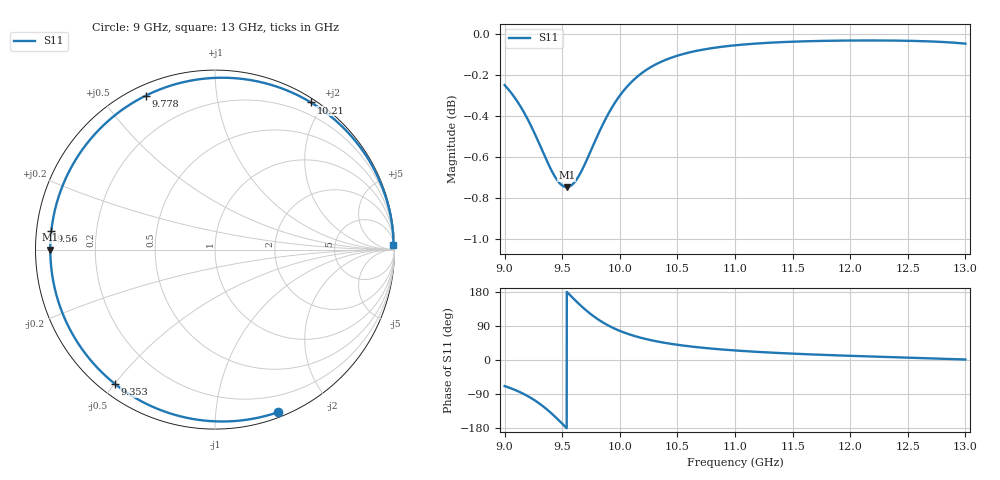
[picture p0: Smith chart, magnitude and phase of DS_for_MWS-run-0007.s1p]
! TOUCHSTONE file generated by CST DESIGN STUDIO
! Date and time: Tue Feb  4 14:31:34 2025
! Project name: C:\Work\MatlabApps\UnitCellOptimizationMatlab\CST\unitcell.cst
! Tree item: Tasks\Sweep1\SPara1\S-Parameters
! Header version: 2024
! Port assignment regex: !\s*Touchstone port\s*([0-9]+)\s*=\s*(CST MWS port|CST DES external port|CST DES block port)\s*(.+)\s* \(\"(.*)\"\)(\s*mode\s*([0-9]+))?.*
! Touchstone port assignment:
! Touchstone port 1 = CST DES external port 1 ("")
# GHz S MA R 50
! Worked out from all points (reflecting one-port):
!   4001 points, 9 GHz to 13 GHz, reference 50 ohm
!   lowest |S11| = -0.7 dB at 9.539 GHz (marker M1), VSWR 23.29, Z = 2.15 - j0.0146 ohm
!   phase of S11 starts at -69 deg and turns -290 deg over the sweep
!   S11 on the Smith chart (normalised r, x): 9 GHz: 0.05, -1.46; 9.353 GHz: 0.04, -0.50; 9.56 GHz: 0.04, +0.06; 9.778 GHz: 0.04, +0.65; 10.21 GHz: 0.05, +1.84; 13 GHz: 20, +81
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9  0.9716 -68.8
9.1  0.9637 -80.3
9.209  0.9522 -96.7
9.285  0.9424 -111.2
9.353  0.9331 -126.8
9.423  0.9245 -145.3
9.463  0.9207 -156.8
9.5  0.9185 -168.0
9.539  0.9176 -180.0
9.56  0.9179 173.6
9.614  0.9207 157.2
9.674  0.9267 140.0
9.725  0.9333 126.6
9.778  0.9406 114.2
9.825  0.9469 104.4
9.876  0.9533 95.1
9.938  0.9601 85.2
10  0.9659 76.9
10.097  0.973 66.2
10.205  0.9788 56.9
10.34  0.9838 48.0
10.5  0.9877 40.1
10.721  0.991 32.2
11  0.9935 25.2
11.5  0.9955 16.8
12  0.9961 11.0
12.5  0.996 6.2
13  0.9944 1.3
